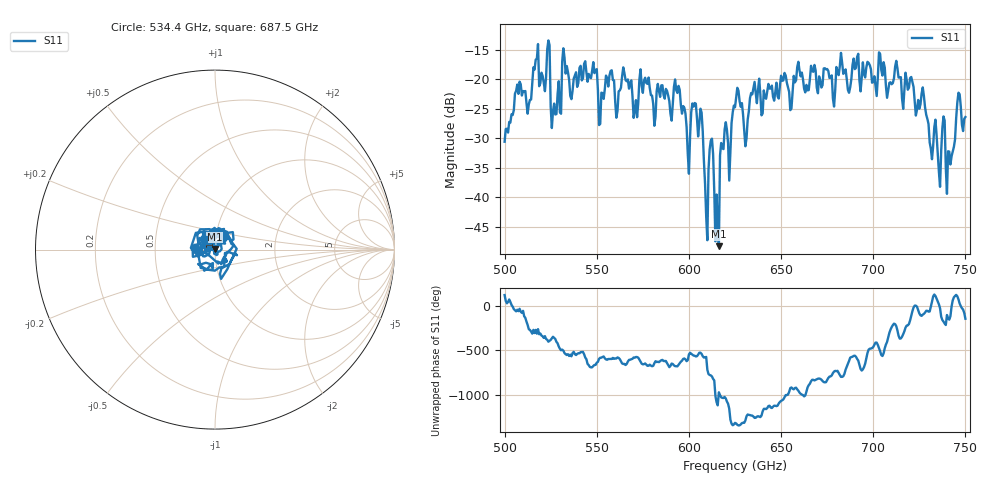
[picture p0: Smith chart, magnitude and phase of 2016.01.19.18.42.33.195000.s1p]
!Created with skrf (http://scikit-rf.org).
# GHz S RI R 50.0
!freq ReS11 ImS11
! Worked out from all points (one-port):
!   401 points, 500 GHz to 750 GHz, reference 50 ohm
!   lowest |S11| = -48.2 dB at 616.2 GHz (marker M1), VSWR 1.01, Z = 49.9 + j0.366 ohm
!   |S11| at or under -10 dB: start of sweep to end of sweep
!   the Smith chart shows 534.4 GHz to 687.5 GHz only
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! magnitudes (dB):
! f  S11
! 500 GHz  -30.6
! 507.5 GHz  -22.5
! 513.1 GHz  -24.3
! 516.9 GHz  -16.7
! 523.8 GHz  -13.5
! 526.9 GHz  -24.1
! 531.2 GHz  -17.0
! 562.5 GHz  -21.9
! 593.8 GHz  -22.3
! 599.4 GHz  -32.6
! 602.5 GHz  -24.7
! 606.2 GHz  -25.0
! 609.4 GHz  -43.2
! 611.9 GHz  -30.4
! 615 GHz  -39.5
! 616.2 GHz  -48.2
! 618.8 GHz  -31.8
! 622.5 GHz  -32.3
! 625 GHz  -24.8
! 630.6 GHz  -31.4
! 635 GHz  -21.5
! 656.2 GHz  -22.2
! 660 GHz  -18.5
! 687.5 GHz  -21.4
! 718.8 GHz  -21.8
! 740.6 GHz  -32.2
! 746.2 GHz  -22.3
! 750 GHz  -26.4
